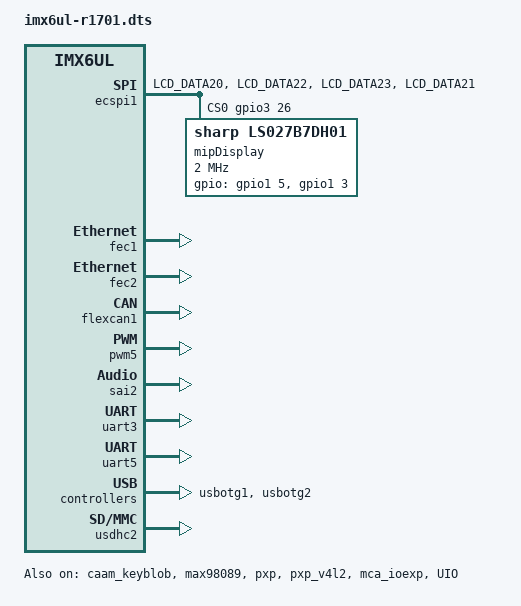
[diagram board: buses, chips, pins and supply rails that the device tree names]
/*
 * Copyright 2016 Digi International, Inc.
 *
 * The code contained herein is licensed under the GNU General Public
 * License. You may obtain a copy of the GNU General Public License
 * Version 2 or later at the following locations:
 *
 * http://www.opensource.org/licenses/gpl-license.html
 * http://www.gnu.org/copyleft/gpl.html
 */

/dts-v1/;
#include <dt-bindings/input/input.h>
#include <dt-bindings/interrupt-controller/irq.h>
/* i.MX6 UltraLite CPU */
#include "imx6ul.dtsi"
/* ConnectCore 6UL */
#include "imx6ul-ccimx6ul.dtsi"
/* ConnectCore 6UL SBC */
#include "imx6ul-ccimx6ulsbc.dtsi"

/*
 * Uncomment to enable the i.MX6UL SoC ADCs.
 * Include in adc-ch-list the ADC channels (from 0 to 9) that you want to
 * enable. Note that the iomux has to be configured accordingly in pinctrl_adc1
 * to configure the pad for ADC operation
 */
//&adc1 {
//	pinctrl-names = "default";
//	pinctrl-0 = <&pinctrl_adc1>;
//	adc-ch-list = <2 3 5>;
//	status = "okay";
//};

/*
 * Uncomment to enable the I/O Expander ADCs.
 * Include in adc-ch-list the ADC channels that you want to enable.
 */
// &mca_ioexp_adc {
// 	digi,adc-ch-list = <3>;
// 	digi,adc-vref = <3300000>;
// };

&caam_keyblob {
	status = "okay";
};

/*
 * CSI camera conflicts with microSD/eMMC.
 * Before enabling the camera you need to disable
 * usdhc2 node.
 */
//&csi {
//	status = "okay";
//};

/* ECSPI1 */
&ecspi1 {
	/*
	 * There are no SPI slave devices on the SBC.
	 * Enable if adding your slave devices below.
	 */
        cs-gpios = <&gpio3 26 GPIO_ACTIVE_HIGH>;
	pinctrl-0 = <&pinctrl_ecspi1_master>;
	status = "okay";

	/* 2.7" Landscape MIP Display */
	mipDisplay: ecspi@0{
		compatible 		= "sharp,ls027b7dh01";
		reg 			= <0>;
		spi-max-frequency 	= <2000000>;
		spi-cs-high;
		gpios			= <&gpio1 5 GPIO_ACTIVE_HIGH>,	/* DISP PIN		*/
					  <&gpio1 3 GPIO_ACTIVE_HIGH>;	/* EXTCOMIN PIN		*/
		status = "okay";
	};

	/* 3.2" Portrait MIP Display */
	/*
	mipDisplay: ecspi@0{
		compatible 		= "sharp,ls032b7dd02";
		reg 			= <0>;
		spi-max-frequency 	= <2000000>;
		spi-cs-high;
		gpios			= <&gpio1 5 GPIO_ACTIVE_HIGH>,
					  <&gpio1 3 GPIO_ACTIVE_HIGH>;
		status = "disable";
	};
	*/
};

/* ENET1 */
&fec1 {
	status = "okay";
};

/* ENET2 */
&fec2 {
	status = "okay";
};

/* CAN1 (multiplexed with UART3 RTS/CTS) */
&flexcan1 {
	status = "okay";
};

/* CAN2 (multiplexed with UART2 RTS/CTS) */
// &flexcan2 {
// 	status = "okay";
// };

/* Fusion touch */
&fusion_touch {
	status = "disable";
};

/* Parallel LCD */
&lcdif {
	status = "disable";
};

/* LCD backlight (PWM5) */
&lcd_backlight {
	status = "disable";
};

/* Audio chip */
&max98089 {
	status = "okay";
};

/* Uncomment to Enable Tamper detection. Two interfaces (0 and 1) are available */
//&mca_tamper {
//	digi,tamper-if-list = <0 1>;
//};

/*
 * CSI camera conflicts with microSD/eMMC.
 * Before enabling the camera you need to disable
 * usdhc2 node.
 */
//&ov5642 {
//	status = "okay";
//};

&pwm5 {
	status = "okay";
};

&pxp {
	status = "okay";
};

&pxp_v4l2 {
	status = "okay";
};

&sai2 {
	status = "okay";
};

&sound_max98089 {
	status = "okay";
};

/* UART2 */
&uart2 {
	/* RTS/CTS lines multiplexed with CAN2 */
	//pinctrl-0 = <&pinctrl_uart2_4wires>;
	//fsl,uart-has-rtscts;
	//status = "okay";

	compatible = "hach,serial-modbus";
	pinctrl-names = "default";
	pinctrl-0 = <&pinctrl_modbus0 &pinctrl_uart2_2wires>;
	gpio-DE = <&gpio1 5 0>;
	gpio-RE = <&gpio1 3 0>;
	status = "disable";
};

/* UART3 */
&uart3 {
	/* RTS/CTS lines multiplexed with CAN1 */
	// pinctrl-0 = <&pinctrl_uart3_4wires>;
	// fsl,uart-has-rtscts;
	status = "okay";
};

/* UART5 (Console) */
&uart5 {
	status = "okay";
};

&usbotg1 {
	status = "okay";
};

&usbotg2 {
	status = "okay";
};

/* USDHC2 (microSD, conflicts with eMMC) */
&usdhc2 {
	pinctrl-assert-gpios = <&gpio5 1 GPIO_ACTIVE_LOW>;
	broken-cd;	/* no carrier detect line (use polling) */
	status = "okay";
};

/* USDHC2 (eMMC, conflicts with microSD) */
//&usdhc2 {
//	pinctrl-assert-gpios = <&gpio5 1 GPIO_ACTIVE_HIGH>;
//	non-removable;
//	/*
//	 * Comment these two lines for 4-bit data bus or leave uncommented
//	 * for 8-bit data bus
//	 */
//	pinctrl-0 = <&pinctrl_usdhc2_8databits>;
//	bus-width = <8>;
//
//	status = "okay";
//};

&mca_ioexp {
	status = "okay";
	restore-config-on-resume;
};

/* Pin mux configuration */
&iomuxc {
	imx6ul-ccimx6ul {
		/* Uncomment specific pins of the ADC channels enabled in 'adc-ch-list' */
		//pinctrl_adc1: adc1grp {
		//	fsl,pins = <
		//		/* EXP_GPIO_1 -> GPIO1_5/ADC1_IN5 */
		//		MX6UL_PAD_GPIO1_IO05__GPIO1_IO05        0xb0
		//		/* EXP_GPIO_2 -> GPIO1_3/ADC1_IN3 */
		//		MX6UL_PAD_GPIO1_IO03__GPIO1_IO03        0xb0
		//		/* EXP_GPIO_3 -> GPIO1_2/ADC1_IN2 */
		//		MX6UL_PAD_GPIO1_IO02__GPIO1_IO02        0xb0
		//	>;
		//};

		pinctrl_modbus0: modbus0grp {
			fsl,pins = <
				MX6UL_PAD_GPIO1_IO05__GPIO1_IO05 0x3031
				MX6UL_PAD_GPIO1_IO03__GPIO1_IO03 0x3031
			>;
		};

		pinctrl_led: led {
			fsl,pins = <
				MX6UL_PAD_GPIO1_IO02__GPIO1_IO02 0xf030
			>;
		};

		pinctrl_additionalgpio: additionalgpios {
			fsl,pins = <
				MX6UL_PAD_GPIO1_IO05__GPIO1_IO05 0x3031
				MX6UL_PAD_GPIO1_IO03__GPIO1_IO03 0x3031
			>;
		};

		pinctrl_ecspi1_master: ecspi1grp1 {
			fsl,pins = <
				MX6UL_PAD_LCD_DATA20__ECSPI1_SCLK	0x10b0
				MX6UL_PAD_LCD_DATA22__ECSPI1_MOSI	0x10b0
				MX6UL_PAD_LCD_DATA23__ECSPI1_MISO	0x10b0
				MX6UL_PAD_LCD_DATA21__GPIO3_IO26	0x30b0 /* Chip Select */
			>;
		};

		/* LCD_DATA_21 is multiplexed with one of the SPI line, hence disable it. Redefined from 
           imx6ul-ccimx6ulsbc.dtsi. */
		pinctrl_lcdif_dat18_23: lcdifdatgrp18_23 {
			fsl,pins = <
				MX6UL_PAD_LCD_DATA18__LCDIF_DATA18	0x79
				MX6UL_PAD_LCD_DATA19__LCDIF_DATA19	0x79
				MX6UL_PAD_LCD_DATA20__LCDIF_DATA20	0x79
				//MX6UL_PAD_LCD_DATA21__LCDIF_DATA21	0x79
				MX6UL_PAD_LCD_DATA22__LCDIF_DATA22	0x79
				MX6UL_PAD_LCD_DATA23__LCDIF_DATA23	0x79
			>;
		};
	};
};

/ {
    UIO {
	compatible = "arrow,UIO";
	reg = <0x0209C000 0x4000>;
	pinctrl-names = "default";
	pinctrl-0 = <&pinctrl_led>;
	status = "okay";
    };
};

